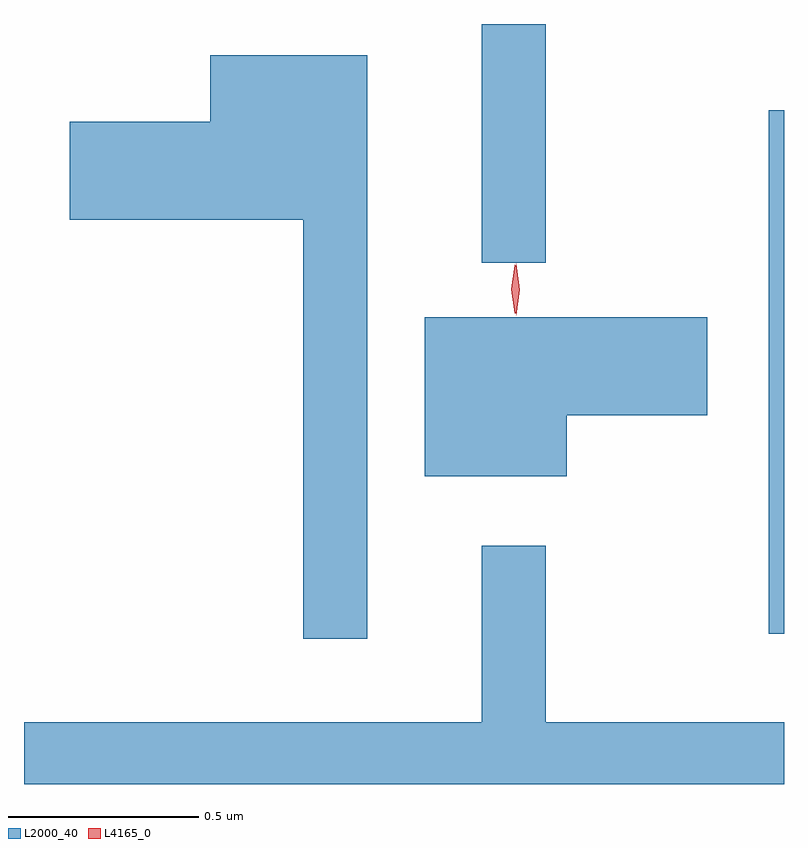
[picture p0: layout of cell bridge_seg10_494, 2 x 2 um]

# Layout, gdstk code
import gdstk
lib = gdstk.Library(unit=1e-6, precision=1e-09)
def R(c, l, rs):  # rectangles x0, y0, x1, y1
    for r in rs: c.add(gdstk.rectangle(r[:2], r[2:], *l))
def P(c, l, *ps):  # polygons
    for p in ps: c.add(gdstk.Polygon(p, *l))
L2000_40 = (2000, 40)
L4165_0 = (4165, 0)

bridge_seg10_494 = lib.new_cell('bridge_seg10_494')
R(bridge_seg10_494, L2000_40, [(1057.776,2161.036,1057.816,2162.414), (1057.021,2162.013,1057.189,2162.641)])
P(bridge_seg10_494, L2000_40, [(1056.719,2162.559),(1056.306,2162.559),(1056.306,2162.384),(1055.936,2162.384),(1055.936,2162.126),(1056.551,2162.126),(1056.551,2161.023),(1056.719,2161.023)],
  [(1057.244,2161.611),(1057.614,2161.611),(1057.614,2161.869),(1056.871,2161.869),(1056.871,2161.451),(1057.244,2161.451)],
  [(1057.816,2160.804),(1057.189,2160.804),(1057.189,2161.268),(1057.021,2161.268),(1057.021,2160.804),(1055.816,2160.804),(1055.816,2160.641),(1057.816,2160.641)])
P(bridge_seg10_494, L4165_0, [(1057.111,2161.874),(1057.102,2161.942),(1057.111,2162.01),(1057.111,2162.01),(1057.112,2162.01),(1057.121,2161.942),(1057.112,2161.874),(1057.112,2161.874)],
  [(1057.108,2161.88),(1057.108,2161.88),(1057.098,2161.943),(1057.108,2162.006),(1057.108,2162.007),(1057.109,2162.006),(1057.118,2161.943),(1057.109,2161.88)])

lib.write_gds('bridge_seg10_494.gds')
